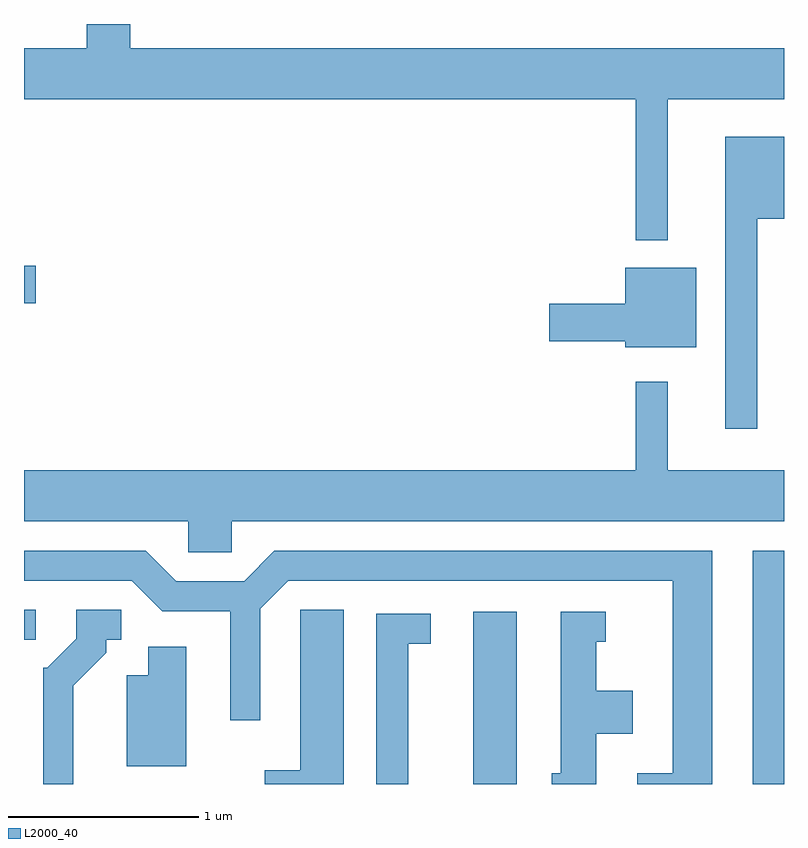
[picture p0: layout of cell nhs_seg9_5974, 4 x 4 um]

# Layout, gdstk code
import gdstk
lib = gdstk.Library(unit=1e-6, precision=1e-09)
def R(c, l, rs):  # rectangles x0, y0, x1, y1
    for r in rs: c.add(gdstk.rectangle(r[:2], r[2:], *l))
def P(c, l, *ps):  # polygons
    for p in ps: c.add(gdstk.Polygon(p, *l))
L2000_40 = (2000, 40)

nhs_seg9_5974 = lib.new_cell('nhs_seg9_5974')
R(nhs_seg9_5974, L2000_40, [(363.976,1990.432,364.204,1991.339), (365.446,1990.432,365.611,1991.659), (361.611,1991.191,361.673,1991.349), (361.611,1992.961,361.674,1993.159)])
P(nhs_seg9_5974, L2000_40, [(364.999,1994.036),(365.611,1994.036),(365.611,1994.304),(362.169,1994.304),(362.169,1994.432),(361.941,1994.432),(361.941,1994.304),(361.611,1994.304),(361.611,1994.036),(364.831,1994.036),(364.831,1993.293),(364.999,1993.293)],
  [(365.469,1993.406),(365.611,1993.406),(365.611,1993.839),(365.301,1993.839),(365.301,1992.303),(365.469,1992.303)],
  [(365.149,1993.149),(364.776,1993.149),(364.776,1992.959),(364.376,1992.959),(364.376,1992.761),(364.776,1992.761),(364.776,1992.731),(365.149,1992.731)],
  [(362.704,1991.816),(365.611,1991.816),(365.611,1992.084),(364.999,1992.084),(364.999,1992.548),(364.831,1992.548),(364.831,1992.084),(361.611,1992.084),(361.611,1991.816),(362.476,1991.816),(362.476,1991.651),(362.704,1991.651)],
  [(365.234,1991.659),(362.929,1991.659),(362.769,1991.499),(362.412,1991.499),(362.252,1991.659),(361.611,1991.659),(361.611,1991.501),(362.179,1991.501),(362.339,1991.341),(362.696,1991.341),(362.696,1990.768),(362.854,1990.768),(362.854,1991.354),(363.002,1991.501),(365.026,1991.501),(365.026,1990.489),(364.838,1990.489),(364.838,1990.432),(365.234,1990.432)],
  [(363.294,1991.349),(363.066,1991.349),(363.066,1990.504),(362.878,1990.504),(362.878,1990.432),(363.294,1990.432)],
  [(361.869,1990.949),(362.044,1991.124),(362.044,1991.191),(362.123,1991.191),(362.123,1991.349),(361.886,1991.349),(361.886,1991.197),(361.734,1991.044),(361.711,1991.044),(361.711,1990.432),(361.869,1990.432)],
  [(364.624,1990.696),(364.814,1990.696),(364.814,1990.924),(364.624,1990.924),(364.624,1991.181),(364.673,1991.181),(364.673,1991.339),(364.436,1991.339),(364.436,1990.489),(364.388,1990.489),(364.388,1990.432),(364.624,1990.432)],
  [(363.634,1991.171),(363.753,1991.171),(363.753,1991.329),(363.466,1991.329),(363.466,1990.432),(363.634,1990.432)],
  [(362.464,1991.154),(362.266,1991.154),(362.266,1991.004),(362.151,1991.004),(362.151,1990.526),(362.464,1990.526)])

lib.write_gds('nhs_seg9_5974.gds')
